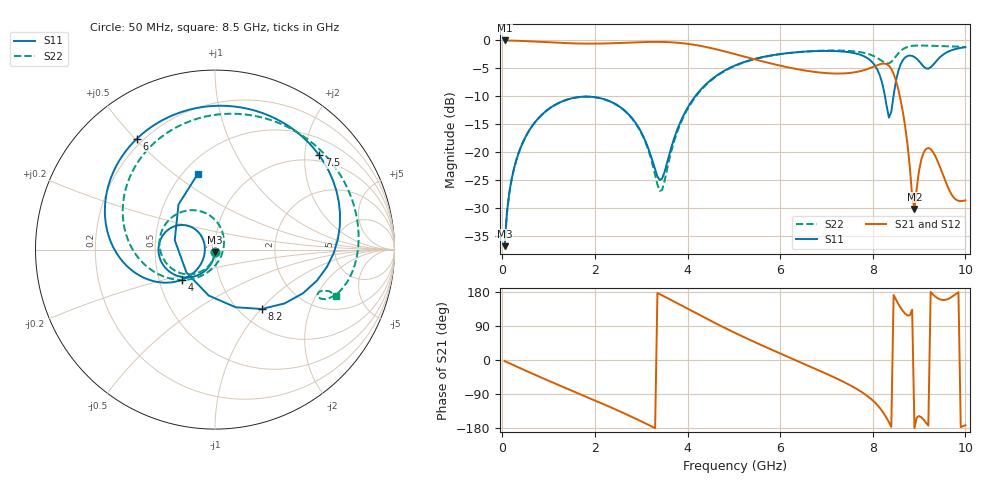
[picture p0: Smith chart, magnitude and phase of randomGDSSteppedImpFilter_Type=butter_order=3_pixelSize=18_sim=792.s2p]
! freq	dB(S11)	phase(S11)	dB(S12)	phase(S12)
!  dB(S21)	phase(S21)	dB(S22)	phase(S22)
!S-par simulation data
#  GHz  S  DB  R 50
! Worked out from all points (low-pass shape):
!   200 points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, 50 MHz to 10 GHz, reference 50 ohm
!   highest |S21| = -0.01 dB at 50 MHz (marker M1); lowest = -30.1 dB at 8.9 GHz (marker M2)
!   |S21| within 3 dB of the highest: start of sweep to 5.278 GHz
!   lowest |S11| = -36.8 dB at 50 MHz (marker M3), VSWR 1.03, Z = 49.9 - j1.45 ohm
!   |S11| at or under -10 dB: start of sweep to 4.166 GHz; 8.264 GHz to 8.447 GHz (183.1 MHz wide, 2.19 % of centre)
!   |S22| runs from -36.8 to -0.9 dB; largest |S21 - S12| = 0
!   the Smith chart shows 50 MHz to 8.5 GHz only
!   S11 on the Smith chart (normalised r, x): 50 MHz: 1.00, -0.03; 4 GHz: 0.66, -0.24; 6 GHz: 0.18, +0.51; 7.5 GHz: 0.86, +2.33; 8.2 GHz: 1.25, -1.01; 8.5 GHz: 0.59, +0.61
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0.05  -36.77 -92.3  -0.01 -2.8  -0.01 -2.8  -36.78 -92.7
0.2  -24.89 -100.7  -0.03 -11.2  -0.03 -11.2  -24.89 -102.2
0.5  -17.27 -116.4  -0.12 -27.8  -0.12 -27.8  -17.28 -120.3
1.75  -10.05 -176.7  -0.56 -93.8  -0.56 -93.8  -10.06 168.0
2.8  -13.89 138.8  -0.37 -150.2  -0.37 -150.2  -13.94 101.5
3.4  -24.96 175.6  -0.26 173.8  -0.26 173.8  -26.92 -5.6
4  -12.07 -137.6  -0.61 135.4  -0.61 135.4  -12.28 -135.9
5.05  -4.39 171.5  -2.50 70.1  -2.50 70.1  -4.47 146.8
6  -2.43 125.1  -4.51 17.3  -4.51 17.3  -2.46 88.5
6.7  -1.93 90.2  -5.58 -20.0  -5.58 -20.0  -1.90 49.3
7.5  -2.12 42.1  -5.82 -65.9  -5.82 -65.9  -1.88 6.6
7.9  -3.26 4.9  -5.08 -96.5  -5.08 -96.5  -2.42 -14.0
8.2  -7.51 -51.8  -4.17 -134.2  -4.17 -134.2  -3.68 -24.8
8.35  -13.81 -141.2  -4.54 -164.5  -4.54 -164.5  -4.08 -22.2
8.5  -7.29 102.8  -7.17 159.6  -7.17 159.6  -2.82 -20.9
8.65  -3.52 49.1  -12.81 129.4  -12.81 129.4  -1.56 -29.3
8.8  -2.70 6.5  -22.63 117.8  -22.63 117.8  -1.05 -39.9
8.9  -2.97 -23.1  -30.12 -179.9  -30.12 -179.9  -0.93 -46.5
9.1  -4.69 -101.1  -20.01 -157.8  -20.01 -157.8  -0.91 -58.5
9.3  -4.40 164.3  -19.94 172.9  -19.94 172.9  -0.96 -69.3
9.55  -2.37 94.4  -24.76 158.4  -24.76 158.4  -1.01 -82.7
10  -1.21 39.0  -28.59 -172.3  -28.59 -172.3  -1.19 -107.7
